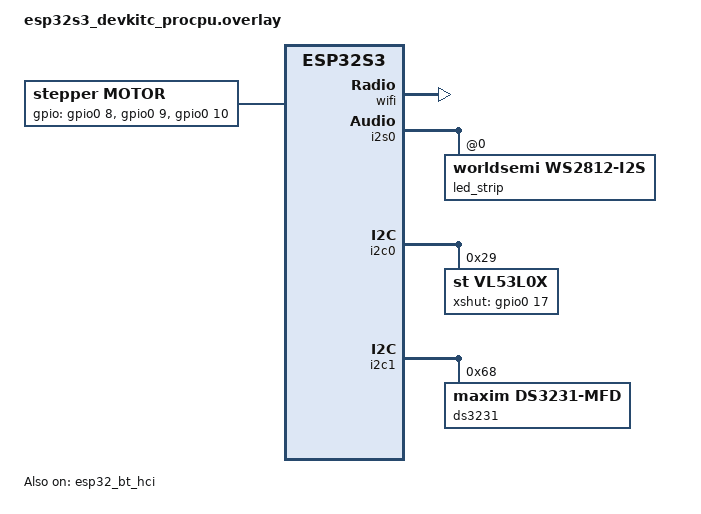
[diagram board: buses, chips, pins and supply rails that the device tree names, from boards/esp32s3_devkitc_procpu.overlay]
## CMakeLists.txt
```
# SPDX-License-Identifier: Apache-2.0
cmake_minimum_required(VERSION 3.20.0)

find_package(Zephyr REQUIRED HINTS $ENV{ZEPHYR_BASE})
project(scheduler_feeder)

add_subdirectory(interface)  # defines target: ports

add_subdirectory(src/application)
add_subdirectory(src/devices/rtc)
add_subdirectory(src/devices/motor)
add_subdirectory(src/devices/watchdog)
add_subdirectory(src/devices/led)
add_subdirectory(src/devices/level_sensor)
add_subdirectory(src/network)
add_subdirectory(src/network/wifi)
add_subdirectory(src/network/mqtt)
add_subdirectory(src/network/json)
add_subdirectory(src/network/provisioning)
add_subdirectory(src/network/provisioning/ble)
add_subdirectory(src/storage)
add_subdirectory(common)




FILE(GLOB app_sources src/*.cpp)

target_sources(app PRIVATE ${app_sources})

zephyr_linker_sources(SECTIONS sections-rom.ld)
zephyr_linker_section(NAME http_resource_desc_http_service
                      KVMA RAM_REGION GROUP RODATA_REGION)
```

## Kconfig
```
rsource "src/network/Kconfig.Network"
rsource "src/network/mqtt/Kconfig.MQTT"
rsource "src/network/wifi/Kconfig.Wifi"
rsource "src/application/Kconfig.app"
rsource "src/devices/rtc/Kconfig.RTC"
rsource "src/devices/level_sensor/Kconfig.LevelSensor"
```

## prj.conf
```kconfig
# === General Configuration ===
CONFIG_CPP=y
CONFIG_GLIBCXX_LIBCPP=y
CONFIG_ASSERT=y
CONFIG_INIT_STACKS=y

# === Networking Configuration ===
CONFIG_NETWORKING=y
CONFIG_NET_SOCKETS=y
CONFIG_NET_DHCPV4=y
CONFIG_NET_DHCPV4_SERVER=y
CONFIG_NET_IPV4=y
CONFIG_NET_TCP=y
CONFIG_DNS_RESOLVER=y
CONFIG_ZVFS_POLL_MAX=64
CONFIG_ZVFS_EVENTFD=y
CONFIG_EVENTFD=y
# Networking Buffers and Contexts
CONFIG_NET_PKT_RX_COUNT=20
CONFIG_NET_PKT_TX_COUNT=20
CONFIG_NET_BUF_RX_COUNT=30
CONFIG_NET_BUF_TX_COUNT=30
CONFIG_NET_MAX_CONTEXTS=18

# Networking Stack Sizes
CONFIG_MAIN_STACK_SIZE=2048
CONFIG_NET_TX_STACK_SIZE=2048
CONFIG_NET_RX_STACK_SIZE=2048

# Networking and Management

CONFIG_NET_MGMT_EVENT_QUEUE_TIMEOUT=5000
CONFIG_NET_MGMT_EVENT_QUEUE_SIZE=32
CONFIG_NET_MGMT=y
CONFIG_NET_MGMT_EVENT=y
CONFIG_NET_MGMT_EVENT_INFO=y
CONFIG_NET_MGMT_EVENT_STACK_SIZE=2048
CONFIG_SYSTEM_WORKQUEUE_STACK_SIZE=2048


# Time Configuration (SNTP, Wall Clock)
CONFIG_POSIX_API=y
CONFIG_NET_UDP=y
CONFIG_SNTP=y
CONFIG_RTC=y
CONFIG_RTC_DS3231=y

# === GPIO ===
CONFIG_GPIO=y

# === Wi-Fi Configuration ===
CONFIG_WIFI=y
CONFIG_WIFI_ESP32=y
CONFIG_WIFI_STA_AUTO_DHCPV4=n
CONFIG_NET_DHCPV4_LOG_LEVEL_DBG=n
CONFIG_WIFI_NM_MAX_MANAGED_INTERFACES=1
CONFIG_WIFI_NM=y 

# === Wi-Fi Credentials ==
CONFIG_WIFI_CREDENTIALS=y
CONFIG_WIFI_CREDENTIALS_MAX_ENTRIES=2
CONFIG_WIFI_CREDENTIALS_BACKEND_PSA=y
#CONFIG_WIFI_CREDENTIALS_BACKEND_SETTINGS=y
CONFIG_WIFI_CREDENTIALS_CONNECT_STORED=y

# Persistence backend
CONFIG_SETTINGS=y
CONFIG_FLASH=y
CONFIG_FLASH_MAP=y
CONFIG_NVS=y
CONFIG_SETTINGS_NVS=y

# === Network Layer Configurations ===
CONFIG_NET_L2_ETHERNET=y
CONFIG_NET_L2_WIFI_MGMT=y

# === Network Sockets and Security ===
CONFIG_NET_MAX_CONN=18

# === Log Configuration ===
CONFIG_LOG=y
CONFIG_WDT_LOG_LEVEL_DBG=y
CONFIG_NET_LOG=y
CONFIG_NET_CONFIG_LOG_LEVEL_DBG=n
CONFIG_NET_L2_WIFI_MGMT_LOG_LEVEL_DBG=n
CONFIG_WIFI_LOG_LEVEL_DBG=n
CONFIG_LOG_BUFFER_SIZE=2048

# === Storage Configuration ===
CONFIG_ZMS=y
CONFIG_FLASH=y
CONFIG_FLASH_MAP=y

# === Watchdog Configuration ===
CONFIG_WATCHDOG=y
CONFIG_TASK_WDT=y
CONFIG_TASK_WDT_MIN_TIMEOUT=500

# === MQTT Configuration ===
CONFIG_DEVICE_ID="ESP32_PET_FEEDER"
CONFIG_JSON_LIBRARY=y
CONFIG_MQTT_LIB=y
CONFIG_MQTT_KEEPALIVE=30
CONFIG_MQTT_LOG_LEVEL_DBG=y

# === MQTT Custom Kconfig flags ==
#CONFIG_MQTT_BROKER_ADDR="orangepi3-lts.local"
CONFIG_MQTT_BROKER_ADDR="192.168.100.20"
CONFIG_MQTT_BROKER_PORT=1883
CONFIG_MQTT_USE_BROKER_DNS=n
CONFIG_MQTT_DEVICE_PASSWORD="@D07gbb2as2" # Yeah i know its a password writen in a conf file that goes to git sue me
CONFIG_MQTT_DEVICE_LOGIN="petfeeder"
CONFIG_MQTT_SENSOR_TOPIC="device/sensor"
CONFIG_MQTT_ADD_RULES_TOPIC="device/rules/add"
CONFIG_MQTT_REMOVE_RULES_TOPIC="device/rules/remove"
CONFIG_MQTT_FEED_NOW_TOPIC="device/feed"


# === Device Modules Configuration ===
CONFIG_VL53L0X=y
CONFIG_SENSOR=y
CONFIG_I2C=y


# === Miscellaneous Configurations ===
CONFIG_NET_IF_MAX_IPV4_COUNT=2
CONFIG_NET_IF_MAX_IPV6_COUNT=2


# === Try to reduce memory ===
CONFIG_SIZE_OPTIMIZATIONS=y


# === HEAP ===
CONFIG_HEAP_MEM_POOL_SIZE=98304

# === RGB Led ===
CONFIG_LED_STRIP=y
CONFIG_LED_STRIP_LOG_LEVEL_DBG=n



CONFIG_STACK_SENTINEL=y

# === MultiCast DNS ===

CONFIG_MDNS_RESPONDER=y
CONFIG_MDNS_RESPONDER_DNS_SD=y
CONFIG_MDNS_RESOLVER=y
CONFIG_DNS_RESOLVER_AUTO_INIT=y
CONFIG_DNS_SD=y
CONFIG_NET_HOSTNAME="petfeeder"
CONFIG_MDNS_RESPONDER_LOG_LEVEL_DBG=n
CONFIG_DNS_SD_LOG_LEVEL_DBG=n
CONFIG_NET_HOSTNAME_ENABLE=y
CONFIG_DNS_RESOLVER_LOG_LEVEL_DBG=n
CONFIG_DNS_RESOLVER_MAX_SERVERS=6
CONFIG_DNS_NUM_CONCUR_QUERIES=6

# === Hardware Infos ===
CONFIG_HWINFO=y

# === Bluetooth provisioning ===
CONFIG_BT=y
CONFIG_BT_PERIPHERAL=y
CONFIG_BT_DEVICE_NAME="PetFeeder"
CONFIG_BT_MAX_CONN=1
CONFIG_BT_MAX_PAIRED=2
CONFIG_BT_GATT_DYNAMIC_DB=y
CONFIG_BT_SETTINGS=y
#CONFIG_BT_LOG_LEVEL_DBG=y

# === Thread analyzer ===
# CONFIG_THREAD_ANALYZER=y
# CONFIG_THREAD_ANALYZER_AUTO=y
# CONFIG_THREAD_NAME=y
```

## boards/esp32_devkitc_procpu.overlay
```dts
&wifi {
    status = "okay";
};


/{
    stepper: stepper{
        compatible = "stepper,motor";
        gpios = <&gpio0 18 GPIO_ACTIVE_HIGH>,
                <&gpio0 19 GPIO_ACTIVE_HIGH>,
                <&gpio0 5 GPIO_ACTIVE_HIGH>;
    };

    pwmleds {
        compatible = "pwm-leds";
        fade_led: fade_led {
            pwms = <&ledc0 0 10000 PWM_POLARITY_NORMAL>;
        };
    };

    //I'll probably change for another sensor, like st,vl53l1x since hc_sr04 seems a bit unstable due to the esp32 voltage
    // In order to reduce the complexity and size of the final circuit and also increase accuracy/confiability.
    hc_sr04: hc_sr04 {
        compatible = "hc-sr04";
        trigger-gpios = <&gpio0 27 GPIO_ACTIVE_HIGH>;
        echo-gpios = <&gpio0 26 GPIO_ACTIVE_HIGH>;
    };

    /*
    just need to put this inside of a i2c controller node and should work well
    vl53l1x: vl53l1x@29 {
		compatible = "st,vl53l1x";
		reg = <0x29>;
		status = "okay";
		xshut-gpios = <&gpio0 26 GPIO_ACTIVE_HIGH>;
		int-gpios = <&gpio0 27 GPIO_ACTIVE_HIGH>;
	}; 
    */

};

&pinctrl {
    ledc0_default: ledc0_default{
        group1 {
            pinmux = <LEDC_CH0_GPIO2>;
            output-enable;
        };
    };
};

&ledc0 {
    pinctrl-0 = <&ledc0_default>;
    pinctrl-names = "default";
    status = "okay";
    #address-cells = <1>;
    #size-cells = <0>;
    channel0@0 {
        reg = <0x0>;
        timer = <0>;
    };
};
```

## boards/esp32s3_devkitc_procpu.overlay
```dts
#include <zephyr/dt-bindings/gpio/gpio.h>
#include <zephyr/dt-bindings/pinctrl/esp32-pinctrl.h>
#include <zephyr/dt-bindings/led/led.h>

&wifi {
    status = "okay";
};


/{
    stepper: stepper{
        compatible = "stepper,motor";
        gpios = <&gpio0 8 GPIO_ACTIVE_HIGH>,
                <&gpio0 9 GPIO_ACTIVE_HIGH>,
                <&gpio0 10 GPIO_ACTIVE_HIGH>;
    };

    aliases {
		led-strip = &led_strip;
	};

	

};


&esp32_bt_hci{
	status="okay";
};

&i2s0_default {
	group1 {
		pinmux = <I2S0_O_SD_GPIO48>;
	};
};


i2s_led: &i2s0 {
	status = "okay";

	dmas = <&dma 3>;
	dma-names = "tx";

	led_strip: ws2812@0 {
		compatible = "worldsemi,ws2812-i2s";
		reg = <0>;
		chain-length = <1>;
		color-mapping = <LED_COLOR_ID_GREEN
				         LED_COLOR_ID_RED
				         LED_COLOR_ID_BLUE>;
		reset-delay = <500>;
	};
};

&dma {
	status = "okay";
};


&i2c0{

	vl53l0x: vl53l0x@29 {
		compatible = "st,vl53l0x";
		reg = <0x29>;
		status = "okay";
		xshut-gpios = <&gpio0 17 GPIO_ACTIVE_HIGH>;
	}; 

	status = "okay";
};

&i2c1 {
	

	ds3231: ds3231@68 {
		compatible = "maxim,ds3231-mfd";
        reg = <0x68>;
        status = "okay";
		
		ds3231_rtc: ds3231_rtc {
    		compatible = "maxim,ds3231-rtc";
            status = "okay";
            isw-gpios = <&gpio0 15 GPIO_ACTIVE_HIGH>;
		};
	};
	status = "okay";
};
```

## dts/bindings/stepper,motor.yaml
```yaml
description: GPIO pins to control one stepper motor direction and steps count

compatible: "stepper,motor"

properties:
  gpios:
    type: phandle-array
    required: true
    description: |
      The GPIOs connected to the motor driver.
```

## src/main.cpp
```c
#include <zephyr/kernel.h>
#include <string.h>
#include "Application.hpp"
#include "StepperController.hpp"
#include "RTC.hpp"
#include "Storage.hpp"
#include "SchedulerRules.hpp"
#include "WifiStation.hpp"
#include "MQTT.hpp"
#include "Led.hpp"
#include "Netmgnt.hpp"
#include "Watchdog.hpp"
#include "LvlSensor.hpp"
#include "NetEvents.hpp"
#include "JsonModule.hpp"
#include <zephyr/task_wdt/task_wdt.h>
#include <zephyr/logging/log.h>
#include <zephyr/drivers/rtc.h>
#include <zephyr/drivers/hwinfo.h>
#include "BluetoothLE.hpp"
#include "Provisioning.hpp"

LOG_MODULE_REGISTER(LOGS);

/**
 * @brief Define in compile time a message queue, so tasks can send publish data to MQTT
 *
 */
K_MSGQ_DEFINE(mqtt_publish_queue, sizeof(struct level_sensor), 1, 1);
K_MSGQ_DEFINE(net_evt_queue, sizeof(struct EventMsg), 10, 1);

/**
 * @brief Device tree devices
 *
 */
const struct device *const vl53l0x_dev = DEVICE_DT_GET(DT_NODELABEL(vl53l0x));

const struct device *const ds3231_rtc_dev = DEVICE_DT_GET(DT_NODELABEL(ds3231_rtc));
const struct device *const hw_wdt_dev = DEVICE_DT_GET(DT_ALIAS(watchdog0));
const struct device *const net_led = DEVICE_DT_GET(DT_ALIAS(led_strip));

struct gpio_dt_spec steps_stepper_dt = GPIO_DT_SPEC_GET_BY_IDX(DT_NODELABEL(stepper), gpios, 0);
struct gpio_dt_spec dir_stepper_dt = GPIO_DT_SPEC_GET_BY_IDX(DT_NODELABEL(stepper), gpios, 1);
struct gpio_dt_spec enable_stepper_dt = GPIO_DT_SPEC_GET_BY_IDX(DT_NODELABEL(stepper), gpios, 2);

/**
 * @brief Objects declaration and wiring
 *
 */
Watchdog guard(hw_wdt_dev);
Storage fs;
JsonModule json;
StepperController motor(&dir_stepper_dt, &steps_stepper_dt, &enable_stepper_dt);
RTC rtc(ds3231_rtc_dev);
SchedulerRules rules_controller(fs);
MQTT mqtt(guard, json, rules_controller);
Led led(net_led);
WifiStation wifi(fs);
BluetoothLE ble;
Provisioning prov(ble);
Netmgnt net(mqtt, wifi, led, prov);
Application app(rtc, motor, guard, rules_controller);
LvlSensor sensor(vl53l0x_dev);
// TODO: Document modules with doxygen style

struct reset_causes
{
    uint32_t flag;
    const char *name;
};

struct reset_causes log_reset_tbl[] = {
    {RESET_PIN, "RESET_PIN"},
    {RESET_SOFTWARE, "RESET_SOFTWARE"},
    {RESET_BROWNOUT, "RESET_BROWNOUT"},
    {RESET_POR, "RESET_POR"},
    {RESET_WATCHDOG, "RESET_WATCHDOG"},
    {RESET_DEBUG, "RESET_DEBUG"},
    {RESET_SECURITY, "RESET_SECURITY"},
    {RESET_LOW_POWER_WAKE, "RESET_LOW_POWER_WAKE"},
    {RESET_CPU_LOCKUP, "RESET_CPU_LOCKUP"},
    {RESET_PARITY, "RESET_PARITY"},
    {RESET_CLOCK, "RESET_CLOCK"},
    {RESET_HARDWARE, "RESET_HARDWARE"},
    {RESET_USER, "RESET_USER"},
    {RESET_TEMPERATURE, "RESET_TEMPERATURE"},
    {RESET_BOOTLOADER, "RESET_BOOTLOADER"},
    {RESET_FLASH, "RESET_FLASH"}};


//TODO: Implement a timeout/retry method for each event write in network manager
int main(void)
{
    uint32_t device_reset_cause = 0;
    if (!hwinfo_get_reset_cause(&device_reset_cause))
    {
        for (int i = 0; i < ARRAY_SIZE(log_reset_tbl); i++)
        {
            if (device_reset_cause & log_reset_tbl[i].flag)
            {
                LOG_WRN("LAST RESET CAUSE: [%s]", log_reset_tbl[i].name);
            }
        }
    }
    hwinfo_clear_reset_cause();

    //wifi_credentials_delete_all();

    // Some important stuff that the device realy realy need (beside the application it self)
    __ASSERT(guard.init() == 0, "Error to init watchdog");
    __ASSERT(fs.init_storage() == FILE_SYSTEM_ERROR::STORAGE_OK, "Error to init storage");
    __ASSERT(rtc.init() == 0, "ERROR: Device not ready -> System cant run without RTC");

    net.Attach(&sensor, MQTT_EVT);
    net.Attach(&app, (WIFI_EVT | MQTT_EVT));
    net.Attach(&rtc, WIFI_EVT);
    net.start();
    app.init_application();
    sensor.init();

    while (true)
    {
        k_sleep(K_FOREVER);
    }

    return 0;
}
```

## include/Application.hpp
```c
#pragma once

#include "StepperController.hpp"
#include "RTC.hpp"
#include "SchedulerRules.hpp"

class Application
{
private:
    StepperController motor;
    RTC rtc;
    Rules_t rules;

private:
    void get_rules(); // Acess filesystem and get the current scheduler
    void dispense_food(int amount); // Dispense a X amount of food (the amount calc will be defined after the mechanics)
    bool check_date(); // Compare current time stamp with the rules
    void app(); // Application function (This may not work bcs is class member, but i'll see how this is usually done)
public:
    Application();
    ~Application();
    void start_application(); // Start application thread
};
```

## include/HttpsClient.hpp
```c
#pragma once

#include <zephyr/net/socket.h>
#include <zephyr/net/http/client.h>
#include <zephyr/net/tls_credentials.h>
#include <zephyr/kernel.h>

#define CONFIG_HTTP_VERSION

class HttpsClient
{
private:
    int sock;
    struct zsock_addrinfo *res;
    uint8_t recv_buf[512];

private:
    static void https_client_task(void *, void *, void *);
    void setup_tls_credentials();
public:
    int setup_socket();
    int connect_socket();
    void get_package();
    HttpsClient();
    ~HttpsClient();
};
```

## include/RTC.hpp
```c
#pragma once

#include <zephyr/net/sntp.h>
#include <zephyr/drivers/rtc.h>
#include <zephyr/kernel.h>
#include <zephyr/sys/util.h>
#include <zephyr/device.h>

class RTC
{
private:
    struct sntp_time s_time;
    struct timespec time_spec;
    const struct device * const rtc = DEVICE_DT_GET(DT_ALIAS(rtc));
public:
    RTC();
    ~RTC();
    int sync_time(); // Function to sync wall-clock time
    
    int get_week_day(); // Function to parse and return the week day
    int get_day(); // Function to parse and return the month day
    int get_month(); //Function to parse and return the month
    int get_year(); //Function to parse and return the year
    int get_hour(); //Function to parse and return the hour
    int get_minute();//Function to parse and return the minutes
};
```

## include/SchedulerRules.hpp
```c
#pragma once

#include <zephyr/kernel.h>


/*
* I won't win nothing by using these flags, in terms of space since i still have the SpecifDateRule_t inside of the union.
* But maybe i can use this for the JSON parser?
*/
#define SUNDAY_FLAG (1 << 0)
#define MONDAY_FLAG (1 << 1)
#define TUESDAY_FLAG (1 << 2)
#define WEDNESDAY_FLAG (1 << 3)
#define THURSDAY_FLAG (1 << 4)
#define FRIDAY_FLAG (1 << 5)
#define SATURDAY_FLAG (1 << 6)
#define DayFlag(x) (1 << x)



typedef struct
{
    uint8_t SUNDAY : 1;
    uint8_t MONDAY : 1;
    uint8_t TUESDAY : 1;
    uint8_t WEDNESDAY : 1;
    uint8_t THURSDAY : 1;
    uint8_t FRIDAY : 1;
    uint8_t SATURDAY : 1;
    uint8_t UNUSED : 1;

} WeekDaysRule_t;


typedef struct {
    uint16_t year;
    uint8_t month;
    uint8_t day;
}SpecifcDateRule_t;

typedef struct{
    uint8_t hour;
    uint8_t minutes;
}TimeRule_t;

typedef enum{
    WEEKLY,
    SPECIF
}PeriodRule_t;


typedef struct SchedulerRules
{
    union
    {
        SpecifcDateRule_t date;
        WeekDaysRule_t week_days;
    };
    TimeRule_t time;
    PeriodRule_t period;

} Rules_t;
```

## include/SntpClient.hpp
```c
#pragma once

#include <zephyr/net/sntp.h>


#define SERVER_MAX_LEN 20

class SntpClient
{
private:
    struct sntp_time s_time;
    struct tm *ts;
    char server[SERVER_MAX_LEN];
public:
    SntpClient();
    SntpClient(const char *server);
    ~SntpClient();
    int update_current_time();
    
    int get_week_day();
    int get_day();
    int get_month();
    int get_year();
    int get_hour();
    int get_minute();
};
```

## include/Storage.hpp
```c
#pragma once

#include <zephyr/kernel.h>
#include <zephyr/sys/reboot.h>
#include <zephyr/device.h>
#include <string.h>
#include <zephyr/fs/zms.h>
#include <zephyr/storage/flash_map.h>

#define SSID_ID 0
#define PASSWORD_ID 1
#define RULES_ID 2

class Storage
{

private:
    struct zms_fs fs;
    static Storage instance;
private:
    Storage();
    ~Storage();

public:
    static Storage& getInstance();
    int init_storage();
    int read_data(uint32_t id, char *buf, size_t buf_len);
    int write_data(uint32_t id, const char *data);
};
```

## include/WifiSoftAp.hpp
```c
#pragma once

#include <zephyr/kernel.h>
#include <zephyr/net/wifi_mgmt.h>
#include <zephyr/net/dhcpv4_server.h>


class WifiSoftAp
{
private:
    struct net_if *sap_iface;
    struct wifi_connect_req_params ap_config;
private:
    void populate_ap_configs();
    int enable_dhcpv4_server();
public:
    WifiSoftAp();
    int enable_soft_ap();
    ~WifiSoftAp();
};
```

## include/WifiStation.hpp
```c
#pragma once

#include <zephyr/kernel.h>
#include <zephyr/net/wifi_mgmt.h>

#define PSK_BUFFER_LEN 20
#define SSID_BUFFER_LEN 20

//TODO: Add the AP mode methods for wifi credentials connection
class WifiStation
{
private:
    char ssid[SSID_BUFFER_LEN];
    char psk[PSK_BUFFER_LEN];
    struct net_if *sta_iface;
    


private:
    int wait_wifi_to_connect(void);
    int wifi_wait_for_ip_addr(void);


public:
    WifiStation();
    void wifi_init(void);
    void set_wifi_credentials(const char *ssid, const char *psk);
    int wifi_connect();
    int connect_to_wifi(char *ssid, char *psk);
    int wifi_disconnect(void);
    void get_connection_status(void);


    ~WifiStation();
};
```

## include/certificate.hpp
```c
#pragma once

#define CA_CERTIFICATE_TAG 1

// static const unsigned char ca_certificate[] = {
//     #include "globalsign_r1.der"
// };
```

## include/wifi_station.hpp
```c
#pragma once

#include <zephyr/kernel.h>
#include <zephyr/net/wifi_mgmt.h>
#include <zephyr/net/dhcpv4_server.h>

#define PSK_BUFFER_LEN 20
#define SSID_BUFFER_LEN 20

//TODO: Add the AP mode methods for wifi credentials connection
class Wifi_Station
{
private:
    char ssid[SSID_BUFFER_LEN];
    char psk[PSK_BUFFER_LEN];
    struct net_if *sta_iface;
    


private:
    int wait_wifi_to_connect(void);
    int wifi_wait_for_ip_addr(void);


public:
    Wifi_Station();
    void wifi_init(void);
    void set_wifi_credentials(const char *ssid, const char *psk);
    int wifi_connect();
    int connect_to_wifi(char *ssid, char *psk);
    int wifi_disconnect(void);
    void get_connection_status(void);


    ~Wifi_Station();
};
```

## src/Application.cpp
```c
#include "Application.hpp"
#include "Storage.hpp"

Application::Application()
{
}

Application::~Application()
{
}

void Application::get_rules()
{
}

void Application::dispense_food(int amount)
{
}
bool Application::check_date()
{
    return true;
}
void Application::app()
{
}

void Application::start_application()
{
}
```

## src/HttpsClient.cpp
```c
#include <zephyr/kernel.h>
#include <zephyr/logging/log.h>
#include <zephyr/net/socket.h>
#include <zephyr/net/http/client.h>
#include <string.h>
#include "HttpsClient.hpp"

#ifndef CONFIG_HTTP_VERSION

#include "certificate.hpp"
#include <zephyr/net/tls_credentials.h>
#define HTTPS_REQUEST_PORT "443"

#else

#define HTTPS_REQUEST_PORT "8080"

#endif

#define HTTPS_REQUEST_HOST "192.168.100.24"
#define HTTPS_REQUEST_URL "/get_rules"

#define HTTPS_REQUEST_TIMEOUT 3000

#define HTTPS_THREAD_STACK_SIZE 8000
#define HTTPS_THREAD_PRIORITY 5
#define HTTPS_THREAD_OPTIONS (K_FP_REGS | K_ESSENTIAL)

#define HTTP_RECV_BUF_LEN 512

static int http_response_callback(struct http_response *resp, enum http_final_call final_data, void *user_data)
{
    char temp_buf[HTTP_RECV_BUF_LEN + 1];

    if (final_data == HTTP_DATA_MORE)
    {
        printk("Partial data received (%d bytes)\r\n", resp->data_len);
    }
    else if (final_data == HTTP_DATA_FINAL)
    {
        printk("All data received (%d bytes)\r\n", resp->data_len);
    }
    memcpy(temp_buf, resp->recv_buf, resp->data_len);
    temp_buf[resp->data_len] = '\0';
    printk("Received data:\r\n%s\r\n", temp_buf);

    return 0;
}

static void print_addrinfo(struct zsock_addrinfo **results)
{
    char ipv4[INET_ADDRSTRLEN];
    struct sockaddr_in *sa;
    struct zsock_addrinfo *rp;

    // Iterate through the results
    for (rp = *results; rp != NULL; rp = rp->ai_next)
    {

        // Print IPv4 address
        if (rp->ai_addr->sa_family == AF_INET)
        {
            sa = (struct sockaddr_in *)rp->ai_addr;
            zsock_inet_ntop(AF_INET, &sa->sin_addr, ipv4, INET_ADDRSTRLEN);
            printk("IPv4: %s\r\n", ipv4);
        }
    }
}

HttpsClient::HttpsClient() : sock(-1)
{
}

HttpsClient::~HttpsClient()
{
}

int HttpsClient::setup_socket()
{
    int ret;
#ifndef CONFIG_HTTP
    ret = tls_credential_add(CA_CERTIFICATE_TAG, TLS_CREDENTIAL_CA_CERTIFICATE, ca_certificate, sizeof(ca_certificate));
    if (ret != 0)
    {
        printk("Unable to add tls credentials\r\n");
        return -1;
    }
    else
    {
        printk("TLS credentials added\r\n");
    }
#endif

    struct zsock_addrinfo hints;
    memset(&hints, 0, sizeof(hints));
    hints.ai_family = AF_INET;
    hints.ai_socktype = SOCK_STREAM;
    ret = zsock_getaddrinfo(HTTPS_REQUEST_HOST, HTTPS_REQUEST_PORT, &hints, &this->res);
    if (ret != 0)
    {
        printk("Unable to get server address\r\n");
        return -1;
    }
    else
    {
        print_addrinfo(&this->res);
    }
#ifndef CONFIG_HTTP
    this->sock = zsock_socket(this->res->ai_family, this->res->ai_socktype, IPPROTO_TLS_1_2);
    if (this->sock < 0)
    {
        printk("Socket fails to create -> socket fd = [%d]\r\n", this->sock);
        return -1;
    }
    else
    {
        printk("Socket created -> socket fd = [%d]\r\n", this->sock);
    }
#else
    this->sock = zsock_socket(this->res->ai_family, this->res->ai_socktype, this->res->ai_protocol);
    if (this->sock < 0)
    {
        printk("Socket fails to create -> socket fd = [%d]\r\n", this->sock);
        return -1;
    }
    else
    {
        printk("Socket created -> socket fd = [%d]\r\n", this->sock);
        return 0;
    }
#endif

#ifndef CONFIG_HTTP
    sec_tag_t sec_tag_opt[] = {
        CA_CERTIFICATE_TAG,
    };

    ret = zsock_setsockopt(this->sock, SOL_TLS, TLS_SEC_TAG_LIST, sec_tag_opt, sizeof(sec_tag_opt));
    if (ret != 0)
    {
        printk("Unable to set socket option for TLS - [%d]\r\n", ret);
        return -1;
    }
    else
    {
        printk("Seted socket option for TLS - [%d]\r\n", ret);
    }

    ret = zsock_setsockopt(sock, SOL_TLS, TLS_HOSTNAME, HTTPS_REQUEST_HOST, sizeof(HTTPS_REQUEST_HOST));

    if (ret != 0)
    {
        printk("Unable to set socket option HOST NAME for TLS - [%d]\r\n", ret);
        return -1;
    }
    else
    {
        printk("Seted socket option HOST NAME for TLS - [%d]\r\n", ret);
    }
    return 0;
#endif
}
int HttpsClient::connect_socket()
{
    int ret = zsock_connect(this->sock, this->res->ai_addr, this->res->ai_addrlen);
    if (ret != 0)
    {
        printk("Error to connect socket[%d] - Error[%d]\r\n", this->sock, ret);
    }
    else
    {
        printk("Socket connected\r\n");
    }
    return ret;
}

void HttpsClient::get_package()
{
    int ret;
    struct http_request req;
    memset(&req, 0, sizeof(req));
    req.method = HTTP_GET;
    req.url = HTTPS_REQUEST_URL;
    req.protocol = "HTTP/1.1";
    req.port = HTTPS_REQUEST_PORT;
    req.host = HTTPS_REQUEST_HOST;
    req.response = http_response_callback;
    req.recv_buf = this->recv_buf;
    req.recv_buf_len = sizeof(this->recv_buf);
    printk("Request struct populated\r\n");

    ret = http_client_req(this->sock, &req, HTTPS_REQUEST_TIMEOUT, NULL);
}

void HttpsClient::https_client_task(void *, void *, void *)
{
}
```
